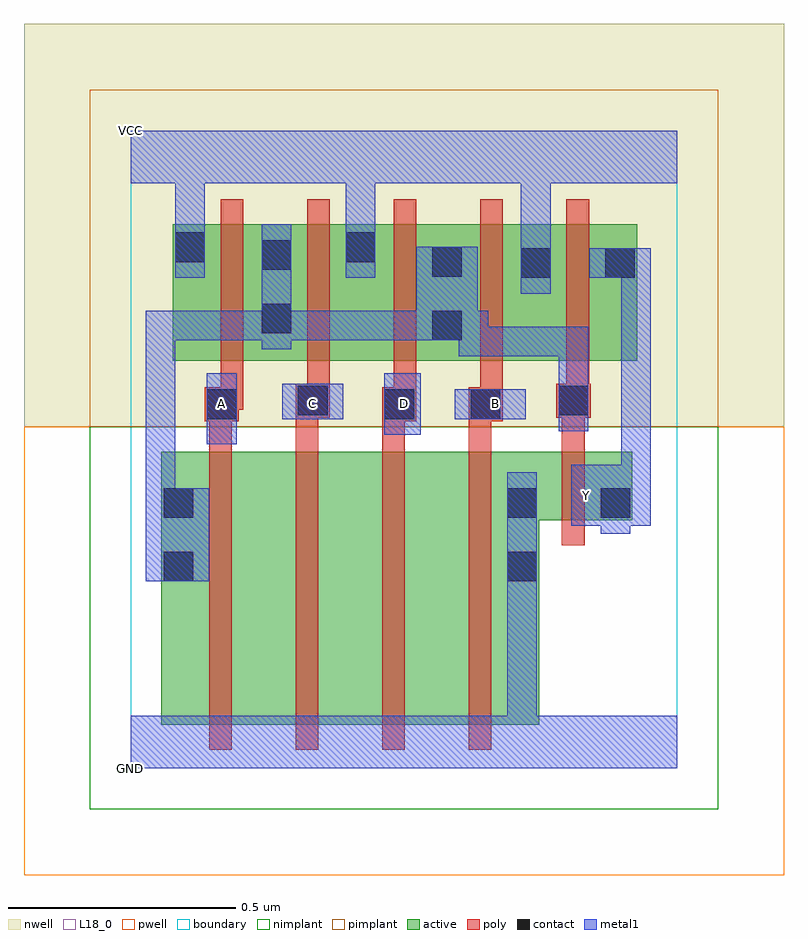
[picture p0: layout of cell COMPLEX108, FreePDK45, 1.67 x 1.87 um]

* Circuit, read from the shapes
.subckt COMPLEX108 A B C D GND VCC Y
M1 n1 A n2 VSUBS nfet w=0.6u l=0.05u
M2 n3 C n1 VSUBS nfet w=0.6u l=0.05u
M3 n4 D n3 VSUBS nfet w=0.6u l=0.05u
M4 GND B n4 VSUBS nfet w=0.6u l=0.05u
M5 Y n2 GND VSUBS nfet w=0.15u l=0.05u
M6 n2 A VCC n5 pfet w=0.3u l=0.05u
M7 VCC C n2 n5 pfet w=0.3u l=0.05u
M8 n2 D VCC n5 pfet w=0.3u l=0.05u
M9 VCC B n2 n5 pfet w=0.3u l=0.05u
M10 Y n2 VCC n5 pfet w=0.3u l=0.05u
.ends

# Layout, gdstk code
import gdstk
lib = gdstk.Library(unit=1e-6, precision=1e-09)
def R(c, l, rs):  # rectangles x0, y0, x1, y1
    for r in rs: c.add(gdstk.rectangle(r[:2], r[2:], *l))
def A(c, l, x, y, w, h, nx, ny, dx, dy):  # array of equal rectangles
    R(c, l, [(x+i*dx, y+j*dy, x+i*dx+w, y+j*dy+h) for i in range(nx) for j in range(ny)])
active = (1, 0)
pwell = (2, 0)
nwell = (3, 0)
nimplant = (4, 0)
pimplant = (5, 0)
poly = (9, 0)
contact = (10, 0)
metal1 = (11, 0)
L18_0 = (18, 0)
boundary = (235, 0)

complex108 = lib.new_cell('COMPLEX108')
R(complex108, active, [(0.067,0.095,0.292,0.695), (0.067,0.095,0.172,0.695), (0.292,0.095,0.482,0.695), (0.482,0.095,0.672,0.695), (0.672,0.095,0.897,0.695), (0.822,0.095,0.897,0.695), (0.822,0.545,1.102,0.695), (1.027,0.545,1.102,0.695), (0.092,0.895,0.357,1.195), (0.092,0.895,0.167,1.195), (0.282,0.895,0.542,1.195), (0.467,0.895,0.732,1.195), (0.657,0.895,0.927,1.195), (0.657,0.895,0.732,1.167), (0.852,0.895,1.112,1.195), (1.037,0.895,1.112,1.147), (0.282,0.95,0.357,1.167), (0.467,1.002,0.542,1.182), (0.852,1.002,0.927,1.195)])
R(complex108, pwell, [(-0.235,-0.235,1.435,0.75)])
R(complex108, nwell, [(-0.235,0.75,1.435,1.635)])
R(complex108, nimplant, [(-0.09,-0.09,1.29,0.75)])
R(complex108, pimplant, [(-0.09,0.75,1.29,1.49)])
A(complex108, poly, 0.172, 0.04, 0.05, 0.71, 4, 1, 0.19, 0)
A(complex108, poly, 0.197, 0.84, 0.05, 0.41, 5, 1, 0.19, 0)
R(complex108, poly, [(0.947,0.49,0.997,0.75), (0.172,0.7,0.222,0.812), (0.362,0.7,0.412,0.82), (0.552,0.7,0.602,0.812), (0.742,0.7,0.792,0.812), (0.947,0.7,0.997,0.82), (0.162,0.762,0.237,0.837), (0.552,0.762,0.627,0.837), (0.742,0.762,0.817,0.837), (0.362,0.77,0.437,0.845), (0.935,0.77,1.01,0.845), (0.947,0.77,0.997,0.82), (0.947,0.77,0.997,0.82), (0.187,0.787,0.237,0.837), (0.187,0.787,0.247,0.837), (0.197,0.787,0.247,0.89), (0.577,0.787,0.627,0.837), (0.577,0.787,0.627,0.837), (0.577,0.787,0.627,0.89), (0.767,0.787,0.817,0.837), (0.767,0.787,0.817,0.837), (0.767,0.787,0.817,0.89), (0.387,0.795,0.437,0.89), (0.387,0.795,0.437,0.845), (0.387,0.795,0.437,0.845), (0.957,0.795,1.007,0.89)])
R(complex108, contact, [(0.072,0.41,0.137,0.475), (0.827,0.41,0.892,0.475), (0.072,0.55,0.137,0.615), (0.827,0.55,0.892,0.615), (1.032,0.55,1.097,0.615), (0.167,0.767,0.232,0.832), (0.557,0.767,0.622,0.832), (0.747,0.767,0.812,0.832), (0.367,0.775,0.432,0.84), (0.94,0.775,1.005,0.84), (0.662,0.94,0.727,1.005), (0.287,0.955,0.352,1.02), (0.857,1.077,0.922,1.142), (1.042,1.077,1.107,1.142), (0.662,1.08,0.727,1.145), (0.287,1.095,0.352,1.16), (0.097,1.112,0.162,1.177), (0.472,1.112,0.537,1.177)])
R(complex108, metal1, [(0,0,1.2,0.115), (0.827,0.05,0.892,0.44), (0.827,0.375,0.892,0.65), (0.032,0.41,0.172,0.615), (1.032,0.515,1.097,0.65), (0.967,0.532,1.142,0.667), (1.032,0.532,1.097,0.597), (0.032,0.55,0.097,1.005), (1.077,0.602,1.142,1.142), (1.077,0.602,1.142,0.667), (1.077,0.602,1.142,0.667), (0.167,0.712,0.232,0.867), (0.557,0.732,0.637,0.867), (0.94,0.74,1.005,0.97), (0.332,0.767,0.467,0.845), (0.712,0.767,0.867,0.832), (0.72,0.905,0.897,0.97), (0.72,0.905,0.785,1.005), (0.832,0.905,0.897,0.97), (0.832,0.905,1.005,0.97), (0.287,0.92,0.352,0.985), (0.287,0.92,0.352,1.195), (0.287,0.92,0.352,1.005), (0.032,0.94,0.097,1.005), (0.032,0.94,0.097,1.005), (0.032,0.94,0.097,1.005), (0.032,0.94,0.097,1.005), (0.032,0.94,0.097,1.005), (0.032,0.94,0.352,1.005), (0.287,0.94,0.352,1.005), (0.287,0.94,0.352,1.005), (0.287,0.94,0.352,1.005), (0.287,0.94,0.352,1.005), (0.287,0.94,0.555,1.005), (0.287,0.94,0.49,1.005), (0.425,0.94,0.49,1.005), (0.425,0.94,0.49,1.005), (0.425,0.94,0.49,1.005), (0.425,0.94,0.755,1.005), (0.49,0.94,0.555,1.005), (0.49,0.94,0.555,1.005), (0.49,0.94,0.555,1.005), (0.49,0.94,0.692,1.005), (0.627,0.94,0.762,1.145), (0.69,0.94,0.755,1.005), (0.69,0.94,0.785,1.005), (0.857,1.042,0.922,1.177), (0.097,1.077,0.162,1.212), (0.472,1.077,0.537,1.212), (1.007,1.077,1.142,1.142), (0.857,1.112,0.922,1.35), (0.097,1.147,0.162,1.35), (0.472,1.147,0.537,1.35), (0,1.285,1.2,1.4), (0.097,1.285,0.162,1.35), (0.097,1.285,0.162,1.35), (0.472,1.285,0.537,1.35), (0.472,1.285,0.537,1.35), (0.857,1.285,0.922,1.35), (0.857,1.285,0.922,1.35)])
A(complex108, L18_0, 0.167, 0.767, 0.065, 0.065, 4, 1, 0.2, 0)
R(complex108, L18_0, [(0,0,1.2,0.115), (0.827,0.05,0.892,0.44), (0.827,0.375,0.892,0.65), (1.032,0.515,1.097,0.65), (0.967,0.532,1.142,0.667), (1.032,0.532,1.097,0.597), (0.967,0.567,1.032,0.632), (1.077,0.602,1.142,0.667), (1.077,0.602,1.142,0.667), (1.077,0.602,1.142,1.142), (0.167,0.712,0.232,0.867), (0.557,0.732,0.637,0.867), (0.332,0.767,0.467,0.845), (0.712,0.767,0.867,0.832), (0.857,1.042,0.922,1.177), (0.097,1.077,0.162,1.212), (0.472,1.077,0.537,1.212), (1.007,1.077,1.142,1.142), (0.857,1.112,0.922,1.35), (0.097,1.147,0.162,1.35), (0.472,1.147,0.537,1.35), (0,1.285,1.2,1.4), (0.097,1.285,0.162,1.35), (0.097,1.285,0.162,1.35), (0.472,1.285,0.537,1.35), (0.472,1.285,0.537,1.35), (0.857,1.285,0.922,1.35), (0.857,1.285,0.922,1.35)])
R(complex108, boundary, [(0,0,1.2,1.4)])
complex108.add(gdstk.Label('A', (0.2,0.8), layer=11, texttype=0))
complex108.add(gdstk.Label('B', (0.8,0.8), layer=11, texttype=0))
complex108.add(gdstk.Label('C', (0.4,0.8), layer=11, texttype=0))
complex108.add(gdstk.Label('D', (0.6,0.8), layer=11, texttype=0))
complex108.add(gdstk.Label('Y', (1,0.6), layer=11, texttype=0))
complex108.add(gdstk.Label('VCC', (0,1.4), layer=11, texttype=0))
complex108.add(gdstk.Label('GND', (0,0), layer=11, texttype=0))

lib.write_gds('COMPLEX108.gds')
